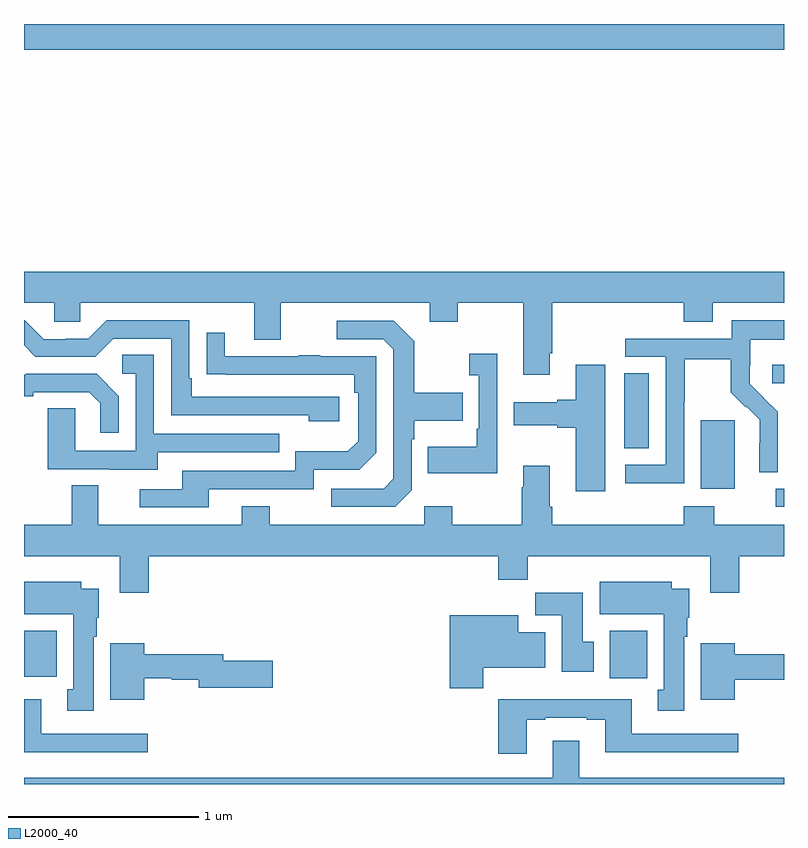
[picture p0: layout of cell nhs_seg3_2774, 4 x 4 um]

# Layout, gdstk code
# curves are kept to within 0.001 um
import gdstk
lib = gdstk.Library(unit=1e-6, precision=1e-09)
def R(c, l, rs):  # rectangles x0, y0, x1, y1
    for r in rs: c.add(gdstk.rectangle(r[:2], r[2:], *l))
def P(c, l, *ps):  # polygons
    for p in ps: c.add(gdstk.Polygon(p, *l))
L2000_40 = (2000, 40)

nhs_seg3_2774 = lib.new_cell('nhs_seg3_2774')
R(nhs_seg3_2774, L2000_40, [(258.083,682.956,258.279,683.206), (255,682.964,255.172,683.206), (258.957,683.859,259,683.955), (258.563,683.954,258.742,684.315), (258.158,684.166,258.289,684.563), (258.939,684.51,259,684.607), (255,686.264,259,686.4)])
P(nhs_seg3_2774, L2000_40, [(257.767,684.667),(257.779,684.667),(257.779,684.932),(258.473,684.932),(258.473,684.833),(258.625,684.833),(258.625,684.932),(259,684.932),(259,685.096),(255,685.096),(255,684.932),(255.159,684.932),(255.159,684.834),(255.297,684.834),(255.297,684.932),(256.211,684.932),(256.211,684.738),(256.351,684.738),(256.351,684.932),(257.135,684.932),(257.135,684.833),(257.283,684.833),(257.283,684.932),(257.627,684.932),(257.627,684.555),(257.767,684.555)],
  [(258.474,684.412),(258.477,684.412),(258.477,684.636),(258.721,684.636),(258.721,684.461),(258.798,684.384),(258.801,684.387),(258.872,684.317),(258.872,684.194),(258.87,684.194),(258.87,684.04),(258.966,684.04),(258.966,684.358),(258.82,684.506),(258.82,684.603),(258.822,684.603),(258.822,684.737),(259,684.737),(259,684.841),(258.726,684.841),(258.726,684.744),(258.165,684.744),(258.165,684.648),(258.378,684.648),(258.378,684.081),(258.165,684.081),(258.165,683.983),(258.474,683.983)],
  [(256.66,684.438),(255.883,684.438),(255.883,684.535),(255.87,684.535),(255.87,684.84),(255.435,684.84),(255.339,684.744),(255.221,684.744),(255.221,684.741),(255.105,684.741),(255.005,684.841),(255,684.841),(255,684.708),(255.06,684.648),(255.375,684.648),(255.471,684.744),(255.774,684.744),(255.774,684.342),(256.499,684.342),(256.499,684.308),(256.66,684.308)],
  [(257.04,683.946),(257.04,684.215),(257.053,684.215),(257.053,684.311),(257.309,684.311),(257.309,684.459),(257.053,684.459),(257.053,684.731),(256.947,684.837),(256.647,684.837),(256.647,684.741),(256.89,684.741),(256.944,684.687),(256.944,684.006),(256.893,683.955),(256.617,683.955),(256.617,683.859),(256.953,683.859)],
  [(255.973,683.952),(256.524,683.952),(256.524,684.054),(256.764,684.054),(256.854,684.144),(256.854,684.651),(256.559,684.651),(256.559,684.656),(256.447,684.656),(256.447,684.651),(256.057,684.651),(256.057,684.775),(255.961,684.775),(255.961,684.556),(256.738,684.555),(256.738,684.458),(256.758,684.458),(256.758,684.204),(256.705,684.151),(256.428,684.151),(256.428,684.048),(255.833,684.048),(255.833,683.952),(255.609,683.952),(255.609,683.856),(255.973,683.856)],
  [(257.49,684.664),(257.343,684.664),(257.343,684.551),(257.394,684.551),(257.394,684.271),(257.382,684.271),(257.382,684.175),(257.125,684.175),(257.125,684.035),(257.49,684.035)],
  [(255.703,684.147),(256.343,684.147),(256.343,684.243),(255.684,684.243),(255.684,684.659),(255.516,684.659),(255.516,684.558),(255.588,684.558),(255.588,684.153),(255.27,684.153),(255.27,684.377),(255.125,684.377),(255.125,684.057),(255.449,684.057),(255.449,684.053),(255.703,684.053)],
  [(258.058,684.607),(257.903,684.607),(257.903,684.422),(257.807,684.422),(257.807,684.409),(257.577,684.409),(257.577,684.287),(257.807,684.287),(257.807,684.275),(257.903,684.275),(257.903,683.94),(258.058,683.94)],
  [(255.498,684.442),(255.382,684.558),(255.01,684.558),(255.01,684.555),(255,684.555),(255,684.44),(255.049,684.44),(255.049,684.462),(255.344,684.462),(255.401,684.405),(255.401,684.249),(255.498,684.249)],
  [(257.495,683.476),(257.651,683.476),(257.651,683.6),(258.611,683.6),(258.611,683.406),(258.764,683.406),(258.764,683.6),(259,683.6),(259,683.764),(258.633,683.764),(258.633,683.863),(258.473,683.863),(258.473,683.764),(257.779,683.764),(257.779,683.86),(257.767,683.86),(257.767,684.076),(257.627,684.076),(257.627,683.963),(257.62,683.963),(257.62,683.764),(257.253,683.764),(257.253,683.863),(257.106,683.863),(257.106,683.764),(256.293,683.764),(256.293,683.863),(256.145,683.863),(256.145,683.764),(255.391,683.764),(255.391,683.972),(255.251,683.972),(255.251,683.764),(255,683.764),(255,683.6),(255.503,683.6),(255.503,683.406),(255.656,683.406),(255.656,683.6),(257.495,683.6)],
  [(255.367,683.174),(255.382,683.174),(255.382,683.274),(255.394,683.274),(255.394,683.428),(255.301,683.428),(255.301,683.464),(255,683.464),(255,683.294),(255.26,683.294),(255.26,682.898),(255.227,682.898),(255.227,682.785),(255.367,682.785)],
  [(258.475,683.174),(258.49,683.174),(258.49,683.274),(258.502,683.274),(258.502,683.428),(258.409,683.428),(258.409,683.464),(258.029,683.464),(258.029,683.294),(258.368,683.294),(258.368,682.897),(258.335,682.897),(258.335,682.785),(258.475,682.785)],
  [(257.998,683.148),(257.941,683.148),(257.941,683.406),(257.692,683.406),(257.692,683.288),(257.831,683.288),(257.831,682.992),(257.998,682.992)],
  [(257.418,683.012),(257.743,683.012),(257.743,683.2),(257.602,683.2),(257.602,683.287),(257.24,683.287),(257.24,682.905),(257.418,682.905)],
  [(258.742,682.948),(259,682.948),(259,683.084),(258.742,683.084),(258.742,683.14),(258.563,683.14),(258.563,682.844),(258.742,682.844)],
  [(255.634,682.956),(255.777,682.956),(255.777,682.948),(255.92,682.948),(255.92,682.906),(256.309,682.906),(256.309,683.048),(256.048,683.048),(256.048,683.084),(255.634,683.084),(255.634,683.14),(255.455,683.14),(255.455,682.844),(255.634,682.844)],
  [(257.647,682.737),(257.743,682.737),(257.743,682.749),(257.963,682.749),(257.963,682.737),(258.059,682.737),(258.059,682.568),(258.76,682.568),(258.76,682.665),(258.199,682.665),(258.199,682.846),(257.495,682.846),(257.495,682.56),(257.647,682.56)],
  [(255.652,682.665),(255.091,682.665),(255.091,682.846),(255,682.846),(255,682.568),(255.652,682.568)],
  [(259,682.432),(257.923,682.432),(257.923,682.627),(257.783,682.627),(257.783,682.432),(255,682.432),(255,682.4),(259,682.4)])

lib.write_gds('nhs_seg3_2774.gds')
